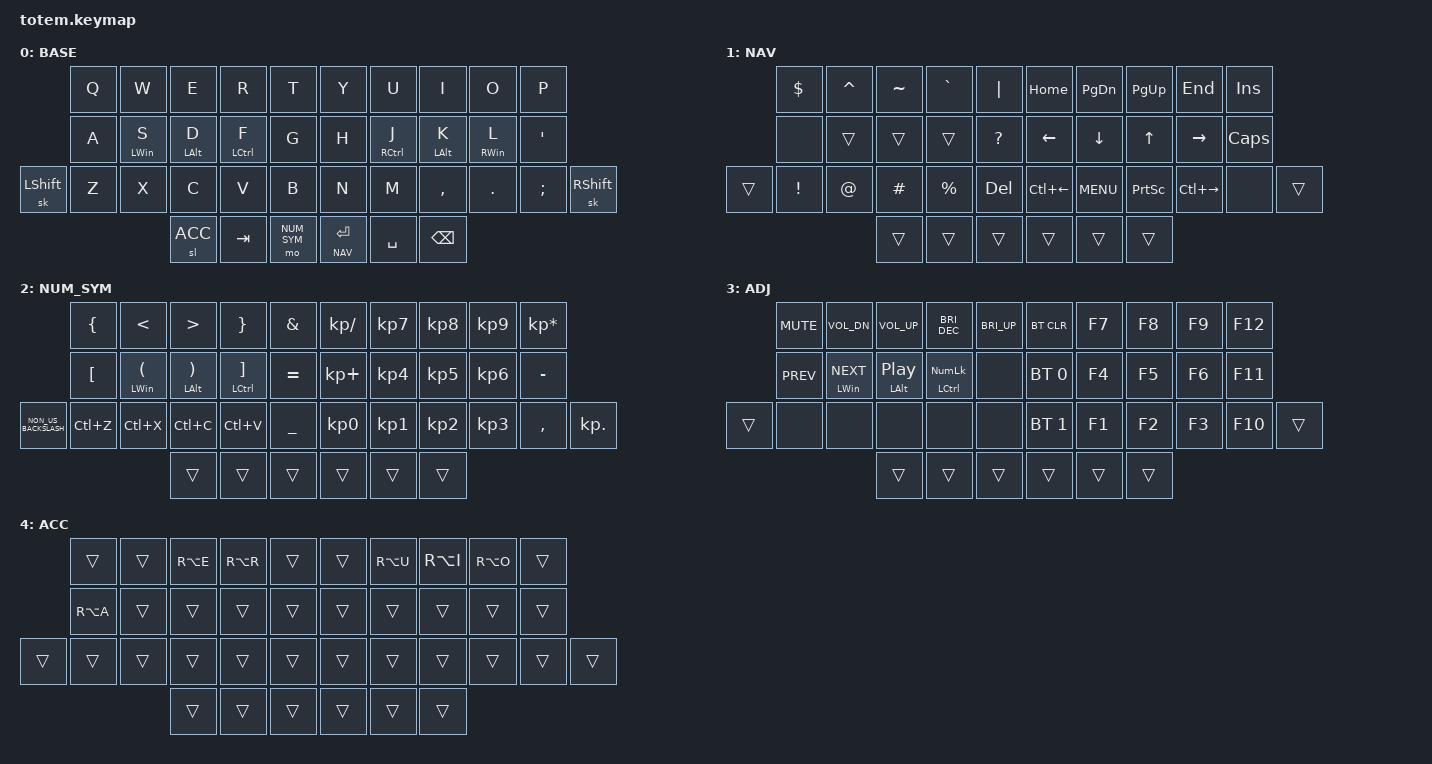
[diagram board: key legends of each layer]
//
//                                                        ▀▀▀▀▀     ▀▀▀▀▀          ▀▀█▀▀
//                                                        ▄▀▀▀▄  ▄  ▄▀▀▀▄  ▄  ▄▀▀▀▄  █  ▄▀▀▀▄
//                                                        █   █  █  █   █  █  █   █  █  █   █
//                                                         ▀▀▀   █   ▀▀▀   █   ▀▀▀   ▀   ▀▀▀
//                                                               █      ▄▄▄█▄▄▄    █   █
//                                                               ▀      █  █  █     █▄█
//                                                             ▀▀▀▀▀    █  █  █      ▀
//                                                                      ▀  ▀  ▀
//
// Key positions (38 keys):
//   0  1  2  3  4  |  5  6  7  8  9
//  10 11 12 13 14  | 15 16 17 18 19
//  20 21 22 23 24 25 | 26 27 28 29 30 31
//         32 33 34  | 35 36 37

#include <behaviors.dtsi>
#include <dt-bindings/zmk/bt.h>
#include <dt-bindings/zmk/keys.h>

#define BASE 0
#define NAV  1
#define NUM_SYM  2
#define ADJ  3
#define ACC  4

/ {
    /* ADJ appears when NAV and NUM_SYM are held together (both thumbs). */

    conditional_layers {
        compatible = "zmk,conditional-layers";

        tri_layer {
            if-layers = <NAV NUM_SYM>;
            then-layer = <ADJ>;
        };
    };

    combos {
        compatible = "zmk,combos";

        combo_esc {
            timeout-ms = <50>;
            key-positions = <0 1>;
            bindings = <&kp ESC>;
            layers = <BASE>;
        };
    };

    behaviors {
        /* Right inner thumb: tap = Enter, hold = NAV layer. */

        nav_ent: nav_enter {
            compatible = "zmk,behavior-hold-tap";
            label = "NAV_ENTER";
            #binding-cells = <2>;
            flavor = "balanced";
            tapping-term-ms = <200>;
            bindings = <&mo>, <&kp>;
        };

        /* Timeless Home Row Mods - Left hand */

        hml: homerow_mods_left {
            compatible = "zmk,behavior-hold-tap";
            label = "HOMEROW_MODS_LEFT";
            #binding-cells = <2>;
            flavor = "balanced";
            tapping-term-ms = <280>;
            quick-tap-ms = <175>;
            require-prior-idle-ms = <220>;
            bindings = <&kp>, <&kp>;

            /* Right hand + both thumb clusters */

            hold-trigger-key-positions = <5 6 7 8 9 15 16 17 18 19 26 27 28 29 30 31 35 36 37 32 33 34>;
            hold-trigger-on-release;
        };

        /* Timeless Home Row Mods - Right hand */

        hmr: homerow_mods_right {
            compatible = "zmk,behavior-hold-tap";
            label = "HOMEROW_MODS_RIGHT";
            #binding-cells = <2>;
            flavor = "balanced";
            tapping-term-ms = <280>;
            quick-tap-ms = <175>;
            require-prior-idle-ms = <220>;
            bindings = <&kp>, <&kp>;

            /* Left hand + both thumb clusters */

            hold-trigger-key-positions = <0 1 2 3 4 10 11 12 13 14 20 21 22 23 24 25 32 33 34 35 36 37>;
            hold-trigger-on-release;
        };
    };

    keymap {
        compatible = "zmk,keymap";

        base_layer {
            label = "BASE";
            bindings = <
                &kp Q  &kp W            &kp E        &kp R         &kp T          &kp Y               &kp U         &kp I            &kp O             &kp P
                &kp A  &hml LEFT_WIN S  &hml LALT D  &hml LCTRL F  &kp G          &kp H               &hmr RCTRL J  &hmr LEFT_ALT K  &hmr RIGHT_WIN L  &kp APOSTROPHE
&sk LEFT_SHIFT  &kp Z  &kp X            &kp C        &kp V         &kp B          &kp N               &kp M         &kp COMMA        &kp DOT           &kp SEMI        &sk RIGHT_SHIFT
                                        &sl ACC      &kp TAB       &mo NUM_SYM    &nav_ent NAV ENTER  &kp SPACE     &kp BACKSPACE
            >;
        };

        nav_layer {
            label = "NAV";
            bindings = <
        &kp DOLLAR       &kp CARET    &kp TILDE  &kp GRAVE    &kp PIPE        &kp HOME      &kp PG_DN   &kp PG_UP        &kp END              &kp INS
        &none            &trans       &trans     &trans       &kp QUESTION    &kp LEFT      &kp DOWN    &kp UP           &kp RIGHT            &kp CAPSLOCK
&trans  &kp EXCLAMATION  &kp AT_SIGN  &kp HASH   &kp PERCENT  &kp DEL         &kp LC(LEFT)  &kp C_MENU  &kp PRINTSCREEN  &kp LC(RIGHT_ARROW)  &none         &trans
                                      &trans     &trans       &trans          &trans        &trans      &trans
            >;
        };

        sym_layer {
            label = "NUM_SYM";
            bindings = <
                      &kp LEFT_BRACE    &kp LESS_THAN                   &kp GREATER_THAN                 &kp RIGHT_BRACE                  &kp AMPERSAND     &kp KP_DIVIDE  &kp KP_N7  &kp KP_N8  &kp KP_N9  &kp KP_ASTERISK
                      &kp LEFT_BRACKET  &hml LEFT_WIN LEFT_PARENTHESIS  &hml LEFT_ALT RIGHT_PARENTHESIS  &hml LEFT_CONTROL RIGHT_BRACKET  &kp EQUAL         &kp KP_PLUS    &kp KP_N4  &kp KP_N5  &kp KP_N6  &kp MINUS
&kp NON_US_BACKSLASH  &kp LC(Z)         &kp LC(X)                       &kp LC(C)                        &kp LC(V)                        &kp UNDERSCORE    &kp KP_N0      &kp KP_N1  &kp KP_N2  &kp KP_N3  &kp COMMA        &kp KP_DOT
                                                                        &trans                           &trans                           &trans            &trans         &trans     &trans
            >;
        };

        adjust_layer {
            label = "ADJ";
            bindings = <
        &kp C_MUTE  &kp C_VOL_DN          &kp C_VOLUME_UP             &kp C_BRI_DEC          &kp C_BRI_UP    &bt BT_CLR    &kp F7  &kp F8  &kp F9  &kp F12
        &kp C_PREV  &hml LEFT_WIN C_NEXT  &hml LEFT_ALT C_PLAY_PAUSE  &hml LCTRL KP_NUMLOCK  &none           &bt BT_SEL 0  &kp F4  &kp F5  &kp F6  &kp F11
&trans  &none       &none                 &none                       &none                  &none           &bt BT_SEL 1  &kp F1  &kp F2  &kp F3  &kp F10  &trans
                                          &trans                      &trans                 &trans          &trans        &trans  &trans
            >;
        };

        accent_layer {
            label = "ACC";
            bindings = <
        &trans     &trans  &kp RA(E)  &kp RA(R)  &trans    &trans  &kp RA(U)  &kp RA(I)  &kp RA(O)  &trans
        &kp RA(A)  &trans  &trans     &trans     &trans    &trans  &trans     &trans     &trans     &trans
&trans  &trans     &trans  &trans     &trans     &trans    &trans  &trans     &trans     &trans     &trans  &trans
                           &trans     &trans     &trans    &trans  &trans     &trans
            >;
        };
    };
};
